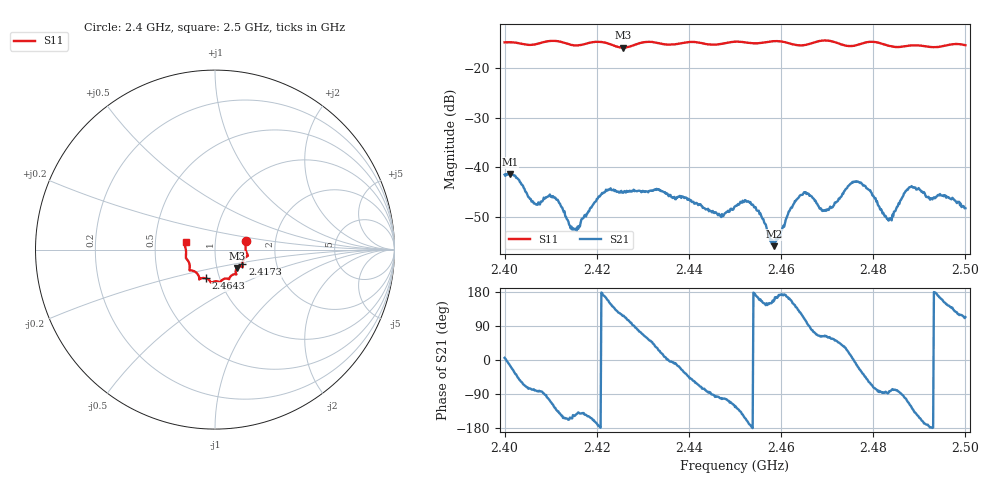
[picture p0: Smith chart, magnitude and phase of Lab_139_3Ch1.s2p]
# Hz S RI R 50
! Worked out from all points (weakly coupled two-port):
!   601 points, 2.4 GHz to 2.5 GHz, reference 50 ohm
!   highest |S21| = -41.37 dB at 2.4012 GHz (marker M1); lowest = -55.9 dB at 2.4585 GHz (marker M2)
!   lowest |S11| = -15.9 dB at 2.4257 GHz (marker M3), VSWR 1.38, Z = 62.4 - j13.1 ohm
!   |S11| at or under -10 dB: start of sweep to end of sweep
!   S12 and S22 are empty: the file has one direction only
!   S11 on the Smith chart (normalised r, x): 2.4 GHz: 1.41, +0.14; 2.4173 GHz: 1.34, -0.23; 2.4643 GHz: 0.86, -0.28; 2.5 GHz: 0.72, +0.06
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2.4e9  0.1732 0.0496  0.00839 0.000826  0 0  0 0
2.401167e9  0.1752 0.0451  0.00826 -0.00217  0 0  0 0
2.406667e9  0.1721 -0.00673  0.000727 -0.00422  0 0  0 0
2.411e9  0.1834 -0.0342  -0.00295 -0.00399  0 0  0 0
2.414833e9  0.1599 -0.0541  -0.00201 -0.00139  0 0  0 0
2.416667e9  0.1528 -0.0747  -0.00231 -0.0019  0 0  0 0
2.417333e9  0.1524 -0.0821  -0.00266 -0.00194  0 0  0 0
2.421667e9  0.1527 -0.095  -0.00547 0.00109  0 0  0 0
2.425667e9  0.1225 -0.1022  -0.00245 0.00497  0 0  0 0
2.433333e9  0.113 -0.1368  0.00529 0.00269  0 0  0 0
2.446833e9  0.0415 -0.1685  -0.000616 -0.00318  0 0  0 0
2.45e9  0.0297 -0.1808  -0.00227 -0.00335  0 0  0 0
2.4535e9  0.0141 -0.1768  -0.00424 -0.000371  0 0  0 0
2.4585e9  -0.0203 -0.1842  -0.00148 0.000629  0 0  0 0
2.464333e9  -0.0503 -0.1603  -0.00281 0.00446  0 0  0 0
2.466667e9  -0.0761 -0.1597  0.000963 0.005  0 0  0 0
2.469833e9  -0.0877 -0.1665  0.00165 0.00326  0 0  0 0
2.475e9  -0.1066 -0.1265  0.00659 0.00165  0 0  0 0
2.476833e9  -0.1253 -0.117  0.00663 -0.00249  0 0  0 0
2.483333e9  -0.1408 -0.0895  0.000193 -0.0029  0 0  0 0
2.488333e9  -0.1611 -0.0492  -0.00372 -0.00529  0 0  0 0
2.5e9  -0.1635 0.0421  -0.00152 0.00357  0 0  0 0
